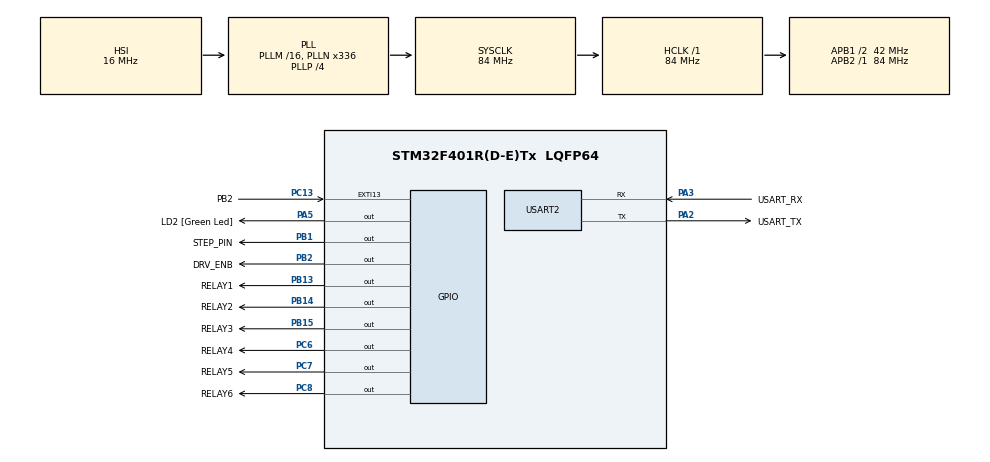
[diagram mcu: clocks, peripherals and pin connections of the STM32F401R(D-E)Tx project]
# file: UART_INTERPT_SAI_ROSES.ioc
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Mcu.Family=STM32F4
Mcu.Name=STM32F401R(D-E)Tx
Mcu.Package=LQFP64
NVIC.EXTI15_10_IRQn=true\:0\:0\:false\:false\:true\:true\:true\:true
NVIC.PriorityGroup=NVIC_PRIORITYGROUP_0
NVIC.USART2_IRQn=true\:0\:0\:false\:false\:true\:true\:true\:true
PA13.GPIO_Label=TMS
PA13.Mode=Serial_Wire
PA13.Signal=SYS_JTMS-SWDIO
PA14.GPIO_Label=TCK
PA14.Mode=Serial_Wire
PA14.Signal=SYS_JTCK-SWCLK
PA2.GPIO_Label=USART_TX
PA2.GPIO_Mode=GPIO_MODE_AF_PP
PA2.GPIO_PuPd=GPIO_NOPULL
PA2.GPIO_Speed=GPIO_SPEED_FREQ_LOW
PA2.Mode=Asynchronous
PA2.Signal=USART2_TX
PA3.GPIO_Label=USART_RX
PA3.GPIO_Mode=GPIO_MODE_AF_PP
PA3.GPIO_PuPd=GPIO_NOPULL
PA3.GPIO_Speed=GPIO_SPEED_FREQ_LOW
PA3.Mode=Asynchronous
PA3.Signal=USART2_RX
PA5.GPIO_Label=LD2 [Green Led]
PA5.GPIO_Mode=GPIO_MODE_OUTPUT_PP
PA5.GPIO_PuPd=GPIO_NOPULL
PA5.GPIO_Speed=GPIO_SPEED_FREQ_LOW
PA5.Signal=GPIO_Output
PB1.GPIO_Label=STEP_PIN
PB1.Signal=GPIO_Output
PB13.GPIO_Label=RELAY1
PB13.Signal=GPIO_Output
PB14.GPIO_Label=RELAY2
PB14.Signal=GPIO_Output
PB15.GPIO_Label=RELAY3
PB15.Signal=GPIO_Output
PB2.GPIO_Label=DRV_ENB
PB2.Signal=GPIO_Output
PB3.GPIO_Label=SWO
PB3.Signal=SYS_JTDO-SWO
PC13-ANTI_TAMP.GPIO_Label=PB2
PC13-ANTI_TAMP.GPIO_ModeDefaultEXTI=GPIO_MODE_IT_FALLING
PC13-ANTI_TAMP.GPIO_PuPd=GPIO_NOPULL
PC13-ANTI_TAMP.Signal=GPXTI13
PC14-OSC32_IN.Mode=LSE-External-Oscillator
PC14-OSC32_IN.Signal=RCC_OSC32_IN
PC15-OSC32_OUT.Mode=LSE-External-Oscillator
PC15-OSC32_OUT.Signal=RCC_OSC32_OUT
PC6.GPIO_Label=RELAY4
PC6.Signal=GPIO_Output
PC7.GPIO_Label=RELAY5
PC7.Signal=GPIO_Output
PC8.GPIO_Label=RELAY6
PC8.Signal=GPIO_Output
PH0\ -\ OSC_IN.Mode=HSE-External-Clock-Source
PH0\ -\ OSC_IN.Signal=RCC_OSC_IN
PH1\ -\ OSC_OUT.Mode=HSE-External-Clock-Source
PH1\ -\ OSC_OUT.Signal=RCC_OSC_OUT
ProjectManager.HeapSize=0x200
ProjectManager.StackSize=0x400
ProjectManager.TargetToolchain=STM32CubeIDE
RCC.48MHZClocksFreq_Value=48000000
RCC.AHBFreq_Value=84000000
RCC.APB1CLKDivider=RCC_HCLK_DIV2
RCC.APB1Freq_Value=42000000
RCC.APB1TimFreq_Value=84000000
RCC.APB2Freq_Value=84000000
RCC.APB2TimFreq_Value=84000000
RCC.CortexFreq_Value=84000000
RCC.HCLKFreq_Value=84000000
RCC.HSE_VALUE=8000000
RCC.HSI_VALUE=16000000
RCC.PLLN=336
RCC.PLLP=RCC_PLLP_DIV4
RCC.PLLQ=7
RCC.SYSCLKFreq_VALUE=84000000
RCC.SYSCLKSource=RCC_SYSCLKSOURCE_PLLCLK
RCC.VCOOutputFreq_Value=336000000
USART2.VirtualMode=VM_ASYNC
board=NUCLEO-F401RE

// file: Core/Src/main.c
/* USER CODE BEGIN Header */
/**
 ******************************************************************************
 * @file           : main.c
 * @brief          : Main program body
 ******************************************************************************
 * @attention
 *
 * Copyright (c) 2024 STMicroelectronics.
 * All rights reserved.
 *
 * This software is licensed under terms that can be found in the LICENSE file
 * in the root directory of this software component.
 * If no LICENSE file comes with this software, it is provided AS-IS.
 *
 ******************************************************************************
 */
/* USER CODE END Header */
#include "main.h"

/* USER CODE BEGIN Includes */
#include "string.h"
/* USER CODE END Includes */

/* USER CODE BEGIN PD */
#define NUMBER_OF_SLOTS 5
#define STEPS_PER_SLOT 10000
#define RELAY_ON_DURATION 100 // Duration in milliseconds
#define DEBOUNCE_TIME_MS 100
/* USER CODE END PD */

UART_HandleTypeDef huart2;

/* USER CODE BEGIN PV */

uint8_t received_slot[1] = { 0 };
uint8_t slot_data[NUMBER_OF_SLOTS] = { 0 };
uint8_t slotCounter = 0;
uint32_t numberofslotsrecived = 0;
uint32_t numberofslotsprocessed = 0;
uint8_t recivedNewData = 0;
volatile uint32_t last_interrupt_time = 0;
// UART buffer for debug messages
char debug_buffer[100];
/* USER CODE END PV */

void SystemClock_Config(void);
static void MX_GPIO_Init(void);
static void MX_USART2_UART_Init(void);

/* USER CODE BEGIN 0 */
// Delay in microseconds
void HAL_Delay_us(uint16_t us) {
	uint32_t start = DWT->CYCCNT; // Get the current cycle count
	uint32_t ticks = us * (SystemCoreClock / 1000000);
	while ((DWT->CYCCNT - start) < ticks)
		; // Wait for the specified number of ticks
}
// check new data
void HAL_UART_RxCpltCallback(UART_HandleTypeDef *huart) {
	if (huart == &huart2) {
		if (received_slot[0] <= NUMBER_OF_SLOTS) {
			recivedNewData = 1;
			numberofslotsrecived++;
			slot_data[slotCounter] = received_slot[0];
			slotCounter =
					(slotCounter < (NUMBER_OF_SLOTS - 1)) ? slotCounter + 1 : 0;
			send_debug_message("");
		}
		HAL_UART_Receive_IT(&huart2, received_slot, 1); // Restart reception
	}
}
// Function to send debug messages over UART2
void send_debug_message(char *message) {
	HAL_UART_Transmit(&huart2, (uint8_t*) message, strlen(message),
	HAL_MAX_DELAY);
	HAL_UART_Transmit(&huart2, (uint8_t*) "\r\n", strlen("\r\n"),
	HAL_MAX_DELAY);
}
// for delay in useconds
void enable_dwt() {
	if (!(CoreDebug->DEMCR & CoreDebug_DEMCR_TRCENA_Msk)) {
		CoreDebug->DEMCR |= CoreDebug_DEMCR_TRCENA_Msk;
		DWT->CYCCNT = 0; // Reset counter
		DWT->CTRL |= DWT_CTRL_CYCCNTENA_Msk; // Enable counter
	}
}
// Function to move conveyor to the specified slot
void processSlots() {
	for (int i = 0; i < STEPS_PER_SLOT; i++) {
		HAL_GPIO_WritePin(STEP_PIN_GPIO_Port, STEP_PIN_Pin, GPIO_PIN_SET);
		HAL_Delay_us(100); // Step pulse high duration
		HAL_GPIO_WritePin(STEP_PIN_GPIO_Port, STEP_PIN_Pin, GPIO_PIN_RESET);
		HAL_Delay_us(30); // Step pulse low duration
	}
	// turns on the relay
	for (uint8_t slot = 1; slot <= NUMBER_OF_SLOTS; slot++) {
		snprintf(debug_buffer, sizeof(debug_buffer),
				"slot_data_before[%d]:%d\n", slot - 1, slot_data[slot - 1]);
		send_debug_message(debug_buffer);
		if (slot_data[slot - 1] == 1) {
			triggerOnSlotRelay(numberofslotsprocessed - (slot - 1));
		}
		if (slot_data[slot - 1] > 0) {
			slot_data[slot - 1] -= 1;
		}
	}
	HAL_Delay(100);
	triggerOfSlotRelays();    // turns of all relays
}
// funtion for triggering relay
void triggerOnSlotRelay(uint8_t slotNumber) {
	switch (slotNumber) {
	case 0:
		HAL_GPIO_WritePin(RELAY1_GPIO_Port, RELAY1_Pin, GPIO_PIN_RESET);
		break;
	case 1:
		HAL_GPIO_WritePin(RELAY2_GPIO_Port, RELAY2_Pin, GPIO_PIN_RESET);
		break;
	case 2:
		HAL_GPIO_WritePin(RELAY3_GPIO_Port, RELAY3_Pin, GPIO_PIN_RESET);
		break;
	case 3:
		HAL_GPIO_WritePin(RELAY4_GPIO_Port, RELAY4_Pin, GPIO_PIN_RESET);
		break;
	case 4:
		HAL_GPIO_WritePin(RELAY5_GPIO_Port, RELAY5_Pin, GPIO_PIN_RESET);
		break;
	default:
		break;
	}
}
//
void triggerOfSlotRelays() {
	HAL_GPIO_WritePin(RELAY1_GPIO_Port, RELAY1_Pin, GPIO_PIN_SET);
	HAL_GPIO_WritePin(RELAY2_GPIO_Port, RELAY2_Pin, GPIO_PIN_SET);
	HAL_GPIO_WritePin(RELAY3_GPIO_Port, RELAY3_Pin, GPIO_PIN_SET);
	HAL_GPIO_WritePin(RELAY4_GPIO_Port, RELAY4_Pin, GPIO_PIN_SET);
	HAL_GPIO_WritePin(RELAY5_GPIO_Port, RELAY5_Pin, GPIO_PIN_SET);
}
// External Interrupt ISR Handler Callback
void HAL_GPIO_EXTI_Callback(uint16_t GPIO_Pin)
{
    if (GPIO_Pin == PB2_Pin) // Check if the interrupt source is PB2_Pin
    {
        uint32_t current_time = HAL_GetTick(); // Get the current system tick
        if ((current_time - last_interrupt_time) >= DEBOUNCE_TIME_MS) // Check debounce condition
        {
            last_interrupt_time = current_time; // Update last interrupt time
            HAL_UART_Transmit(&huart2, (uint8_t*) "DETECTED\r\n", strlen("DETECTED\r\n"), 10); // Send message
        }
    }
}
/* USER CODE END 0 */

int main(void)
{

  /* MCU Configuration--------------------------------------------------------*/

  /* Reset of all peripherals, Initializes the Flash interface and the Systick. */
  HAL_Init();

  /* Configure the system clock */
  SystemClock_Config();

  /* Initialize all configured peripherals */
  MX_GPIO_Init();
  MX_USART2_UART_Init();
  /* USER CODE BEGIN 2 */
  HAL_GPIO_WritePin(RELAY1_GPIO_Port, RELAY1_Pin, GPIO_PIN_SET);
  HAL_GPIO_WritePin(RELAY2_GPIO_Port, RELAY2_Pin, GPIO_PIN_SET);
  HAL_GPIO_WritePin(RELAY3_GPIO_Port, RELAY3_Pin, GPIO_PIN_SET);
  HAL_GPIO_WritePin(RELAY4_GPIO_Port, RELAY4_Pin, GPIO_PIN_SET);
  HAL_GPIO_WritePin(RELAY5_GPIO_Port, RELAY5_Pin, GPIO_PIN_SET);
  HAL_GPIO_WritePin(RELAY6_GPIO_Port, RELAY6_Pin, GPIO_PIN_SET);
  enable_dwt();
  HAL_UART_Receive_IT(&huart2, received_slot, 1);
  send_debug_message("Enter a slot number..");

  /* USER CODE END 2 */

  /* Infinite loop */
	while (1) {

    /* USER CODE BEGIN 3 */
		if (recivedNewData) {
			recivedNewData = 0;
			processSlots();
			numberofslotsprocessed =
					(numberofslotsprocessed < (NUMBER_OF_SLOTS - 1)) ?
							numberofslotsprocessed + 1 : 0;
//			snprintf(debug_buffer, sizeof(debug_buffer),
//					"Number of slots recived : %d  Numberofslotsprocessed : %d \n",
//					numberofslotsrecived, numberofslotsprocessed);
//			send_debug_message(debug_buffer);
			snprintf(debug_buffer, sizeof(debug_buffer),
					"current slot of 1 index : %d \n", numberofslotsprocessed);
			send_debug_message(debug_buffer);
		}
	}
  /* USER CODE END 3 */
}

void SystemClock_Config(void)
{
  RCC_OscInitTypeDef RCC_OscInitStruct = {0};
  RCC_ClkInitTypeDef RCC_ClkInitStruct = {0};

  /** Configure the main internal regulator output voltage
  */
  __HAL_RCC_PWR_CLK_ENABLE();
  __HAL_PWR_VOLTAGESCALING_CONFIG(PWR_REGULATOR_VOLTAGE_SCALE2);

  /** Initializes the RCC Oscillators according to the specified parameters
  * in the RCC_OscInitTypeDef structure.
  */
  RCC_OscInitStruct.OscillatorType = RCC_OSCILLATORTYPE_HSI;
  RCC_OscInitStruct.HSIState = RCC_HSI_ON;
  RCC_OscInitStruct.HSICalibrationValue = RCC_HSICALIBRATION_DEFAULT;
  RCC_OscInitStruct.PLL.PLLState = RCC_PLL_ON;
  RCC_OscInitStruct.PLL.PLLSource = RCC_PLLSOURCE_HSI;
  RCC_OscInitStruct.PLL.PLLM = 16;
  RCC_OscInitStruct.PLL.PLLN = 336;
  RCC_OscInitStruct.PLL.PLLP = RCC_PLLP_DIV4;
  RCC_OscInitStruct.PLL.PLLQ = 7;
  if (HAL_RCC_OscConfig(&RCC_OscInitStruct) != HAL_OK)
  {
    Error_Handler();
  }

  /** Initializes the CPU, AHB and APB buses clocks
  */
  RCC_ClkInitStruct.ClockType = RCC_CLOCKTYPE_HCLK|RCC_CLOCKTYPE_SYSCLK
                              |RCC_CLOCKTYPE_PCLK1|RCC_CLOCKTYPE_PCLK2;
  RCC_ClkInitStruct.SYSCLKSource = RCC_SYSCLKSOURCE_PLLCLK;
  RCC_ClkInitStruct.AHBCLKDivider = RCC_SYSCLK_DIV1;
  RCC_ClkInitStruct.APB1CLKDivider = RCC_HCLK_DIV2;
  RCC_ClkInitStruct.APB2CLKDivider = RCC_HCLK_DIV1;

  if (HAL_RCC_ClockConfig(&RCC_ClkInitStruct, FLASH_LATENCY_2) != HAL_OK)
  {
    Error_Handler();
  }
}

static void MX_USART2_UART_Init(void)
{

  huart2.Instance = USART2;
  huart2.Init.BaudRate = 115200;
  huart2.Init.WordLength = UART_WORDLENGTH_8B;
  huart2.Init.StopBits = UART_STOPBITS_1;
  huart2.Init.Parity = UART_PARITY_NONE;
  huart2.Init.Mode = UART_MODE_TX_RX;
  huart2.Init.HwFlowCtl = UART_HWCONTROL_NONE;
  huart2.Init.OverSampling = UART_OVERSAMPLING_16;
  if (HAL_UART_Init(&huart2) != HAL_OK)
  {
    Error_Handler();
  }

}

static void MX_GPIO_Init(void)
{
  GPIO_InitTypeDef GPIO_InitStruct = {0};

  /* GPIO Ports Clock Enable */
  __HAL_RCC_GPIOC_CLK_ENABLE();
  __HAL_RCC_GPIOH_CLK_ENABLE();
  __HAL_RCC_GPIOA_CLK_ENABLE();
  __HAL_RCC_GPIOB_CLK_ENABLE();

  /*Configure GPIO pin Output Level */
  HAL_GPIO_WritePin(LD2_GPIO_Port, LD2_Pin, GPIO_PIN_RESET);

  /*Configure GPIO pin Output Level */
  HAL_GPIO_WritePin(GPIOB, STEP_PIN_Pin|DRV_ENB_Pin|RELAY1_Pin|RELAY2_Pin
                          |RELAY3_Pin, GPIO_PIN_RESET);

  /*Configure GPIO pin Output Level */
  HAL_GPIO_WritePin(GPIOC, RELAY4_Pin|RELAY5_Pin|RELAY6_Pin, GPIO_PIN_RESET);

  /*Configure GPIO pin : PB2_Pin */
  GPIO_InitStruct.Pin = PB2_Pin;
  GPIO_InitStruct.Mode = GPIO_MODE_IT_FALLING;
  GPIO_InitStruct.Pull = GPIO_NOPULL;
  HAL_GPIO_Init(PB2_GPIO_Port, &GPIO_InitStruct);

  /*Configure GPIO pin : LD2_Pin */
  GPIO_InitStruct.Pin = LD2_Pin;
  GPIO_InitStruct.Mode = GPIO_MODE_OUTPUT_PP;
  GPIO_InitStruct.Pull = GPIO_NOPULL;
  GPIO_InitStruct.Speed = GPIO_SPEED_FREQ_LOW;
  HAL_GPIO_Init(LD2_GPIO_Port, &GPIO_InitStruct);

  /*Configure GPIO pins : STEP_PIN_Pin DRV_ENB_Pin RELAY1_Pin RELAY2_Pin
                           RELAY3_Pin */
  GPIO_InitStruct.Pin = STEP_PIN_Pin|DRV_ENB_Pin|RELAY1_Pin|RELAY2_Pin
                          |RELAY3_Pin;
  GPIO_InitStruct.Mode = GPIO_MODE_OUTPUT_PP;
  GPIO_InitStruct.Pull = GPIO_NOPULL;
  GPIO_InitStruct.Speed = GPIO_SPEED_FREQ_LOW;
  HAL_GPIO_Init(GPIOB, &GPIO_InitStruct);

  /*Configure GPIO pins : RELAY4_Pin RELAY5_Pin RELAY6_Pin */
  GPIO_InitStruct.Pin = RELAY4_Pin|RELAY5_Pin|RELAY6_Pin;
  GPIO_InitStruct.Mode = GPIO_MODE_OUTPUT_PP;
  GPIO_InitStruct.Pull = GPIO_NOPULL;
  GPIO_InitStruct.Speed = GPIO_SPEED_FREQ_LOW;
  HAL_GPIO_Init(GPIOC, &GPIO_InitStruct);

  /* EXTI interrupt init*/
  HAL_NVIC_SetPriority(EXTI15_10_IRQn, 0, 0);
  HAL_NVIC_EnableIRQ(EXTI15_10_IRQn);

}

void Error_Handler(void)
{
	__disable_irq();
	while (1) {
	}
}
